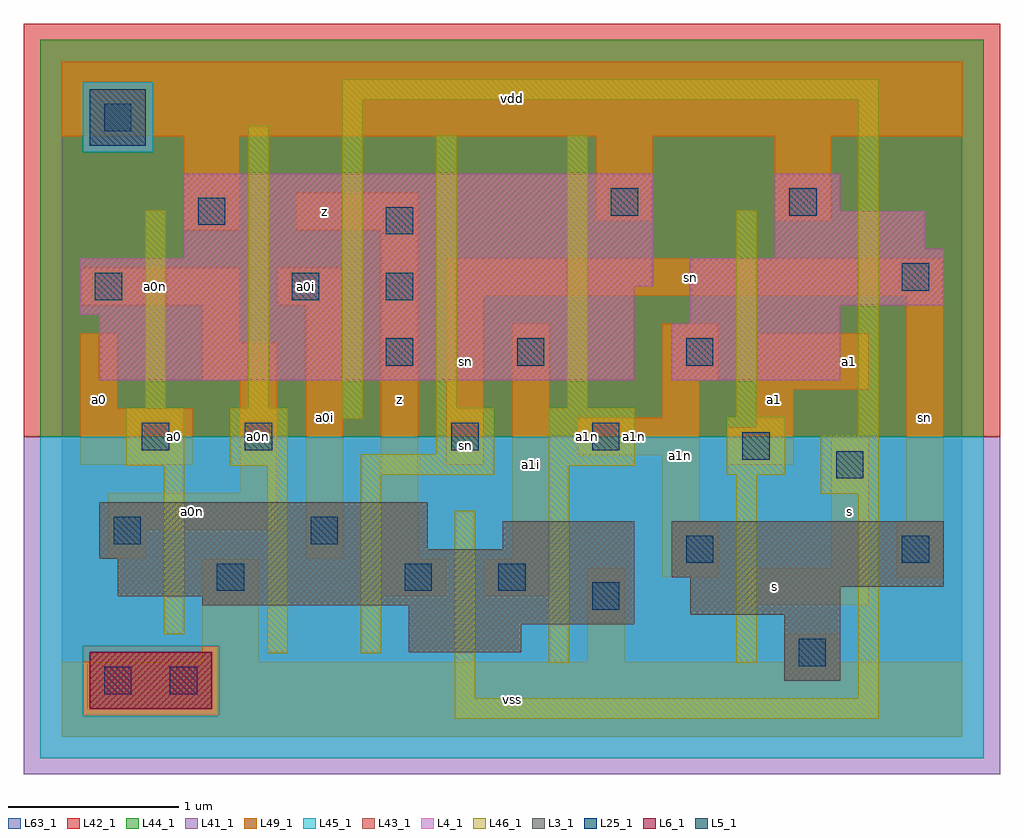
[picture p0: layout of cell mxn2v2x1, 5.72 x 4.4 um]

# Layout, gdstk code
import gdstk
lib = gdstk.Library(unit=1e-6, precision=1e-09)
def R(c, l, rs):  # rectangles x0, y0, x1, y1
    for r in rs: c.add(gdstk.rectangle(r[:2], r[2:], *l))
def A(c, l, x, y, w, h, nx, ny, dx, dy):  # array of equal rectangles
    R(c, l, [(x+i*dx, y+j*dy, x+i*dx+w, y+j*dy+h) for i in range(nx) for j in range(ny)])
L3_1 = (3, 1)
L4_1 = (4, 1)
L5_1 = (5, 1)
L6_1 = (6, 1)
L25_1 = (25, 1)
L41_1 = (41, 1)
L42_1 = (42, 1)
L43_1 = (43, 1)
L44_1 = (44, 1)
L45_1 = (45, 1)
L46_1 = (46, 1)
L49_1 = (49, 1)
L63_1 = (63, 1)

mxn2v2x1 = lib.new_cell('mxn2v2x1')
R(mxn2v2x1, L3_1, [(4.235,0.33,4.565,0.715), (2.035,0.495,2.695,0.66), (2.035,0.66,3.355,0.77), (3.685,0.715,4.565,0.88), (0.825,0.77,3.355,0.825), (0.33,0.825,3.355,1.045), (3.685,0.88,5.17,0.935), (3.575,0.935,5.17,1.265), (0.22,1.045,3.355,1.1), (0.22,1.1,2.145,1.375), (2.585,1.1,3.355,1.265)])
R(mxn2v2x1, L4_1, [(0.22,2.09,3.355,2.475), (3.575,2.09,4.565,2.42), (3.685,2.42,4.565,2.53), (0.11,2.475,3.355,2.64), (3.685,2.53,5.17,2.805), (0.11,2.64,3.465,2.805), (0.715,2.805,3.465,3.3), (4.18,2.805,5.17,2.86), (4.18,2.86,5.06,3.08), (4.18,3.08,4.565,3.3)])
R(mxn2v2x1, L5_1, [(0.165,3.465,0.495,3.795)])
R(mxn2v2x1, L6_1, [(0.165,0.165,0.88,0.495)])
A(mxn2v2x1, L25_1, 1.9, 2.175, 0.16, 0.16, 1, 3, 0, 0.385)
R(mxn2v2x1, L25_1, [(0.25,0.25,0.41,0.41), (0.635,0.25,0.795,0.41), (4.32,0.415,4.48,0.575), (3.11,0.745,3.27,0.905), (0.91,0.855,1.07,1.015), (2.01,0.855,2.17,1.015), (2.56,0.855,2.72,1.015), (3.66,1.02,3.82,1.18), (4.925,1.02,5.085,1.18), (0.305,1.13,0.465,1.29), (1.46,1.13,1.62,1.29), (4.54,1.515,4.7,1.675), (3.99,1.625,4.15,1.785), (0.47,1.68,0.63,1.84), (1.075,1.68,1.235,1.84), (2.285,1.68,2.445,1.84), (3.11,1.68,3.27,1.84), (2.67,2.175,2.83,2.335), (3.66,2.175,3.82,2.335), (0.195,2.56,0.355,2.72), (1.35,2.56,1.51,2.72), (4.925,2.615,5.085,2.775), (0.8,3,0.96,3.16), (3.22,3.055,3.38,3.215), (4.265,3.055,4.425,3.215), (0.25,3.55,0.41,3.71)])
R(mxn2v2x1, L41_1, [(-0.22,-0.22,5.5,1.76)])
R(mxn2v2x1, L42_1, [(-0.22,1.76,5.5,4.18)])
R(mxn2v2x1, L43_1, [(0.165,0.165,0.88,0.495), (4.235,0.33,4.565,0.715), (2.035,0.495,2.695,0.66), (2.035,0.66,3.355,0.77), (3.685,0.715,4.565,0.88), (0.825,0.77,3.355,0.825), (0.33,0.825,3.355,1.045), (3.685,0.88,5.17,0.935), (3.575,0.935,5.17,1.265), (0.22,1.045,3.355,1.1), (0.22,1.1,2.145,1.375), (2.585,1.1,3.355,1.265), (0.22,2.09,3.355,2.475), (3.575,2.09,4.565,2.42), (3.685,2.42,4.565,2.53), (0.11,2.475,3.355,2.64), (3.685,2.53,5.17,2.805), (0.11,2.64,3.465,2.805), (0.715,2.805,3.465,3.3), (4.18,2.805,5.17,2.86), (4.18,2.86,5.06,3.08), (4.18,3.08,4.565,3.3), (0.165,3.465,0.495,3.795)])
R(mxn2v2x1, L44_1, [(0.125,0.125,0.92,0.535), (-0.125,1.76,5.405,3.425), (-0.125,3.425,0.125,3.835), (0.535,3.425,5.405,3.835), (-0.125,3.835,5.405,4.085)])
R(mxn2v2x1, L45_1, [(-0.125,-0.125,5.405,0.125), (-0.125,0.125,0.125,0.535), (0.92,0.125,5.405,0.535), (-0.125,0.535,5.405,1.76), (0.125,3.425,0.535,3.835)])
R(mxn2v2x1, L46_1, [(2.305,0.105,4.79,0.225), (2.305,0.225,2.425,1.325), (4.67,0.225,4.79,1.425), (2.855,0.435,2.975,1.59), (3.955,0.435,4.075,1.535), (1.205,0.49,1.325,1.59), (1.755,0.49,1.875,1.535), (0.6,0.6,0.72,1.59), (4.45,1.425,4.79,1.765), (1.755,1.535,2.535,1.655), (3.9,1.535,4.24,1.875), (0.38,1.59,0.72,1.93), (0.985,1.59,1.325,1.93), (2.855,1.59,3.36,1.93), (2.195,1.655,2.535,1.93), (4.67,1.765,4.79,3.735), (1.645,1.865,1.765,3.735), (3.955,1.875,4.075,3.085), (0.49,1.93,0.61,3.085), (1.095,1.93,1.215,3.58), (2.195,1.93,2.315,3.525), (2.965,1.93,3.085,3.525), (1.645,3.735,4.79,3.855)])
R(mxn2v2x1, L49_1, [(0,0,5.28,0.44), (0.825,0.44,1.155,1.045), (3.08,0.44,3.3,0.99), (4.235,0.44,4.565,0.605), (4.015,0.77,4.73,0.99), (1.87,0.825,2.255,1.045), (2.475,0.825,2.86,1.045), (3.52,0.935,3.85,1.265), (4.895,0.935,5.17,1.265), (4.51,0.99,4.73,1.76), (0.275,1.045,0.495,1.21), (1.43,1.045,1.65,2.53), (1.87,1.045,2.09,2.97), (2.64,1.045,2.86,2.42), (0.275,1.21,1.265,1.43), (3.52,1.265,3.74,1.65), (4.95,1.265,5.17,2.585), (1.045,1.43,1.265,2.09), (0.11,1.595,0.77,1.925), (2.255,1.595,2.475,2.585), (3.905,1.595,4.29,1.815), (3.025,1.65,3.74,1.87), (4.07,1.815,4.29,2.035), (3.52,1.87,3.74,2.09), (0.11,1.925,0.33,2.365), (4.07,2.035,4.73,2.365), (0.825,2.09,1.265,2.31), (3.52,2.09,3.85,2.42), (0.825,2.31,1.045,2.53), (0.11,2.53,1.045,2.75), (1.265,2.53,1.65,2.75), (2.255,2.585,5.17,2.805), (0.715,2.97,1.045,3.52), (1.375,2.97,2.09,3.19), (3.135,3.025,3.465,3.52), (4.18,3.025,4.51,3.52), (0,3.52,5.28,3.96)])
R(mxn2v2x1, L63_1, [(0,0,5.28,3.96)])
mxn2v2x1.add(gdstk.Label('a0n', (1.155,1.76), layer=49, texttype=1))
mxn2v2x1.add(gdstk.Label('sn', (2.365,1.705), layer=49, texttype=1))
mxn2v2x1.add(gdstk.Label('a1n', (3.08,1.76), layer=46, texttype=1))
mxn2v2x1.add(gdstk.Label('a0', (0.66,1.76), layer=49, texttype=1))
mxn2v2x1.add(gdstk.Label('a0', (0.22,1.98), layer=49, texttype=1))
mxn2v2x1.add(gdstk.Label('a0n', (0.77,1.32), layer=49, texttype=1))
mxn2v2x1.add(gdstk.Label('a0n', (1.155,1.76), layer=49, texttype=1))
mxn2v2x1.add(gdstk.Label('a0i', (1.54,1.87), layer=49, texttype=1))
mxn2v2x1.add(gdstk.Label('a0n', (0.55,2.64), layer=49, texttype=1))
mxn2v2x1.add(gdstk.Label('a0i', (1.43,2.64), layer=49, texttype=1))
mxn2v2x1.add(gdstk.Label('z', (1.54,3.08), layer=49, texttype=1))
mxn2v2x1.add(gdstk.Label('vss', (2.64,0.22), layer=49, texttype=1))
mxn2v2x1.add(gdstk.Label('z', (1.98,1.98), layer=49, texttype=1))
mxn2v2x1.add(gdstk.Label('a1i', (2.75,1.595), layer=49, texttype=1))
mxn2v2x1.add(gdstk.Label('sn', (2.365,2.2), layer=49, texttype=1))
mxn2v2x1.add(gdstk.Label('vdd', (2.64,3.74), layer=49, texttype=1))
mxn2v2x1.add(gdstk.Label('s', (4.18,0.88), layer=49, texttype=1))
mxn2v2x1.add(gdstk.Label('a1n', (3.355,1.76), layer=49, texttype=1))
mxn2v2x1.add(gdstk.Label('a1', (4.18,1.98), layer=49, texttype=1))
mxn2v2x1.add(gdstk.Label('a1n', (3.63,1.65), layer=49, texttype=1))
mxn2v2x1.add(gdstk.Label('s', (4.62,1.32), layer=49, texttype=1))
mxn2v2x1.add(gdstk.Label('a1', (4.62,2.2), layer=49, texttype=1))
mxn2v2x1.add(gdstk.Label('sn', (5.06,1.87), layer=49, texttype=1))
mxn2v2x1.add(gdstk.Label('sn', (3.685,2.695), layer=49, texttype=1))

lib.write_gds('mxn2v2x1.gds')
